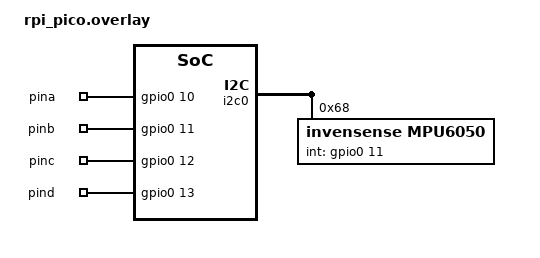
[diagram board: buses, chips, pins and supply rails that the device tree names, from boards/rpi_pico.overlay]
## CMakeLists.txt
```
# SPDX-License-Identifier: Apache-2.0

cmake_minimum_required(VERSION 3.20.0)
set(DTC_OVERLAY_FILE ${CMAKE_CURRENT_SOURCE_DIR}/boards/rpi_pico.overlay)

include_directories(include)

find_package(Zephyr REQUIRED HINTS $ENV{ZEPHYR_BASE})
project(step_gyro)

target_sources(app PRIVATE src/main.cpp)
include_directories(src)
file(GLOB_RECURSE SRCS src/**.cpp)
target_sources(app PRIVATE ${SRCS})
#include_directories(boards)
```

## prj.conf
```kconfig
CONFIG_CPLUSPLUS=y
CONFIG_NEWLIB_LIBC=y
CONFIG_LIB_CPLUSPLUS=y
CONFIG_NEWLIB_LIBC_FLOAT_PRINTF=y
CONFIG_STDOUT_CONSOLE=y
CONFIG_PRINTK=y
CONFIG_LOG=y
CONFIG_LOG_PRINTK=y
CONFIG_LOG_MODE_IMMEDIATE=y
CONFIG_SYSTEM_WORKQUEUE_STACK_SIZE=1024

CONFIG_I2C=y
CONFIG_GPIO=y
CONFIG_SENSOR=y
CONFIG_PINCTRL=y
CONFIG_MPU6050_TRIGGER_NONE=y
CONFIG_MPU_ALLOW_FLASH_WRITE=y
CONFIG_CBPRINTF_FP_SUPPORT=y
```

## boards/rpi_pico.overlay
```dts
/{
    steppers {
        compatible = "gpio-keys";
        pina: pina {
            gpios = <&gpio0 10 0x0>;
        };
        pinb: pinb {
            gpios = <&gpio0 11 0x0>;
        };
        pinc: pinc {
            gpios = <&gpio0 12 0x0>;
        };
        pind: pind {
            gpios = <&gpio0 13 0x0>;
        };
    };
};

&pinctrl {

        myi2c: myi2c {
            group1 {
                pinmux = <I2C0_SDA_P4>, <I2C0_SCL_P5>;
                input-enable;
                input-schmitt-enable;
            };
        };
};

&i2c0 {

    status = "okay";
    pinctrl-0 = <&myi2c>;

        mpu6050: mpu6050@68 {
            compatible = "invensense,mpu6050";
            reg = <0x68>;
            status = "okay";
            int-gpios = <&gpio0 11 GPIO_ACTIVE_HIGH>;
        };
};
```

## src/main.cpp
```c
#include "zephyr/dt-bindings/gpio/gpio.h"
#include "zephyr/dt-bindings/input/input-event-codes.h"
#include <stdint.h>
#include <zephyr/drivers/gpio.h>
#include <zephyr/kernel.h>
#include <zephyr/devicetree.h>
#include <zephyr/device.h>
#include <zephyr/drivers/gpio.h>
#include <zephyr/logging/log.h>
#include <cerrno>
#include <cstdint>
#include <string>
#include <float.h>
#include "drivers/mpu6050.hpp"
#include <zephyr/drivers/sensor.h>
#include <zephyr/sys/util.h>

using namespace std;

LOG_MODULE_REGISTER(logging_blog, LOG_LEVEL_DBG);

#define MPU                 DT_NODELABEL(mpu6050)

#define PIN_A               DT_NODELABEL(pina)
#define PIN_B               DT_NODELABEL(pinb)
#define PIN_C               DT_NODELABEL(pinc)
#define PIN_D               DT_NODELABEL(pind)
#define NUM_CONTROL_PINS    4
#define MAX_MICRO_STEP_RES  2

static const uint8_t
	half_step_lookup_table[NUM_CONTROL_PINS * MAX_MICRO_STEP_RES][NUM_CONTROL_PINS] = {
		{1u, 1u, 0u, 0u}, 
        {0u, 1u, 0u, 0u}, 
        {0u, 1u, 1u, 0u}, 
        {0u, 0u, 1u, 0u},
		{0u, 0u, 1u, 1u}, 
        {0u, 0u, 0u, 1u}, 
        {1u, 0u, 0u, 1u}, 
        {1u, 0u, 0u, 0u}};

static const uint8_t
    full_step_lookup_table[NUM_CONTROL_PINS][NUM_CONTROL_PINS] = {
		{1u, 1u, 0u, 0u}, 
        {0u, 1u, 1u, 0u}, 
		{0u, 0u, 1u, 1u}, 
        {1u, 0u, 0u, 1u}};

int main() 
{
    //const struct device *pina = DEVICE_DT_GET(PIN_A);
    static const struct gpio_dt_spec pin_a = GPIO_DT_SPEC_GET(PIN_A, gpios);
    static const struct gpio_dt_spec pin_b = GPIO_DT_SPEC_GET(PIN_B, gpios);
    static const struct gpio_dt_spec pin_c = GPIO_DT_SPEC_GET(PIN_C, gpios);
    static const struct gpio_dt_spec pin_d = GPIO_DT_SPEC_GET(PIN_D, gpios);

    gpio_pin_configure_dt(&pin_a, GPIO_OUTPUT_ACTIVE);
    gpio_pin_configure_dt(&pin_b, GPIO_OUTPUT_ACTIVE);
    gpio_pin_configure_dt(&pin_c, GPIO_OUTPUT_ACTIVE);
    gpio_pin_configure_dt(&pin_d, GPIO_OUTPUT_ACTIVE);

    const struct device* mpu6050_dev = DEVICE_DT_GET(MPU);
    drivers::MPU6050Sensor mpu6050(mpu6050_dev);

    //gpio_pin_set_raw(pin_a.port, 10, 1);
/*     k_msleep(5000);
    int val = gpio_pin_set(pin_a.port, 10, 1);
    printk("pin: %p\n", &pin_a);
    printk("config: %d\n", val1);
    printk("toggle: %d", val);
 */
    
/*     uint32_t steps = 1;
    int64_t start = k_uptime_get();

    while(steps < 4096) {
        uint8_t j = 0;
        while( j < 8) {
            gpio_pin_set(pin_a.port, 10, half_step_lookup_table[j][0]);
            gpio_pin_set(pin_b.port, 11, half_step_lookup_table[j][1]);
            gpio_pin_set(pin_c.port, 12, half_step_lookup_table[j][2]);
            gpio_pin_set(pin_d.port, 13, half_step_lookup_table[j][3]);
            //printk("j: %d, steps: %d\n", j, steps);
            j++;
            steps++;
            k_usleep(950);
            }
        }

    int64_t now = k_uptime_get();
    int64_t time = now - start;
    double vel = (360.0 / time) * 1000;
    string str = to_string(vel);
    printk("velocità: %d; ", (int) vel);
    //printk ("steps: %u\n", steps - 1); */
    while (1) {
        mpu6050.getAccel();
        mpu6050.getGyro();
        printk("acceleration: X:%d,%d; Y:%d,%d; Z:%d,%d\n", mpu6050.accel[0].val1, mpu6050.accel[0].val2, mpu6050.accel[1].val1, mpu6050.accel[1].val2, mpu6050.accel[2].val1, mpu6050.accel[2].val2);
        printk("gyro acceleration: X:%d,%d; Y:%d,%d; Z:%d,%d\n\n", mpu6050.gyro[0].val1, mpu6050.gyro[0].val2, mpu6050.gyro[1].val1, mpu6050.gyro[1].val2, mpu6050.gyro[2].val1, mpu6050.gyro[2].val2);
        k_msleep(50);
    }
    return 0;
}
```
